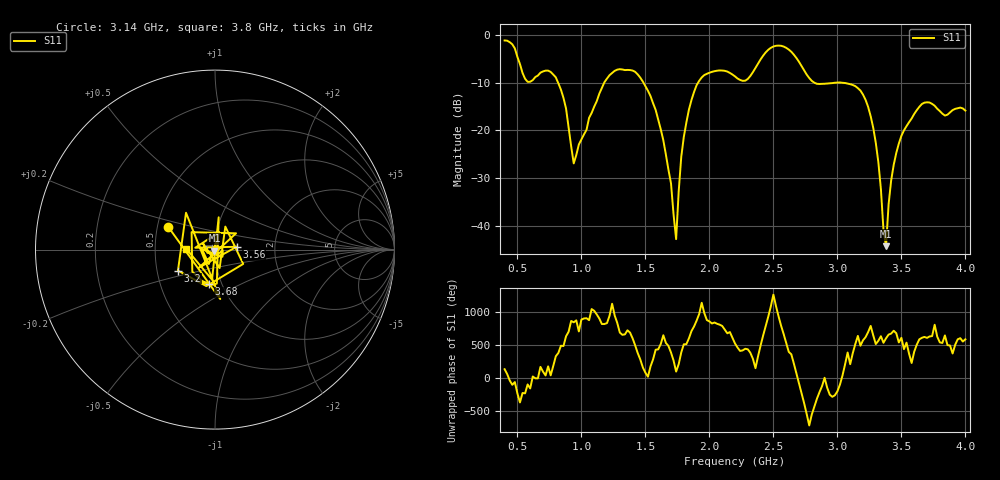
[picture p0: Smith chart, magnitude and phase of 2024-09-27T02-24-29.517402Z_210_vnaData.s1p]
!Created with skrf (http://scikit-rf.org).
# Hz S RI R 50.0
!freq ReS11 ImS11
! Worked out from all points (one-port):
!   181 points, 400 MHz to 4 GHz, reference 50 ohm
!   lowest |S11| = -44.3 dB at 3.38 GHz (marker M1), VSWR 1.01, Z = 49.7 - j0.523 ohm
!   |S11| at or under -10 dB: 817.7 MHz to 1.178 GHz (360.5 MHz wide, 36.1 % of centre); 1.485 GHz to 1.912 GHz (427.1 MHz wide, 25.2 % of centre); 3.032 GHz to end of sweep (the widest 3 of 4)
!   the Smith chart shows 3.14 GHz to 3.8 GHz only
!   S11 on the Smith chart (normalised r, x): 3.14 GHz: 0.57, +0.16; 3.2 GHz: 0.64, -0.16; 3.56 GHz: 1.27, +0.04; 3.68 GHz: 0.87, -0.35; 3.8 GHz: 0.73, +0.00
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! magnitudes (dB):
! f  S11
! 400 MHz  -1.1
! 580 MHz  -9.8
! 740 MHz  -7.5
! 860 MHz  -13.2
! 940 MHz  -26.9
! 1.18 GHz  -9.9
! 1.3 GHz  -7.2
! 1.44 GHz  -8.3
! 1.58 GHz  -15.7
! 1.7 GHz  -31.1
! 1.74 GHz  -42.8
! 1.76 GHz  -32.9
! 1.8 GHz  -21.4
! 1.9 GHz  -10.5
! 2.2 GHz  -8.7
! 2.5 GHz  -2.4
! 2.66 GHz  -4.1
! 2.82 GHz  -10.0
! 3.1 GHz  -10.3
! 3.14 GHz  -10.7
! 3.2 GHz  -12.5
! 3.3 GHz  -22.6
! 3.38 GHz  -44.3
! 3.44 GHz  -27.2
! 3.56 GHz  -18.3
! 3.68 GHz  -14.2
! 3.8 GHz  -16.0
! 4 GHz  -15.9
